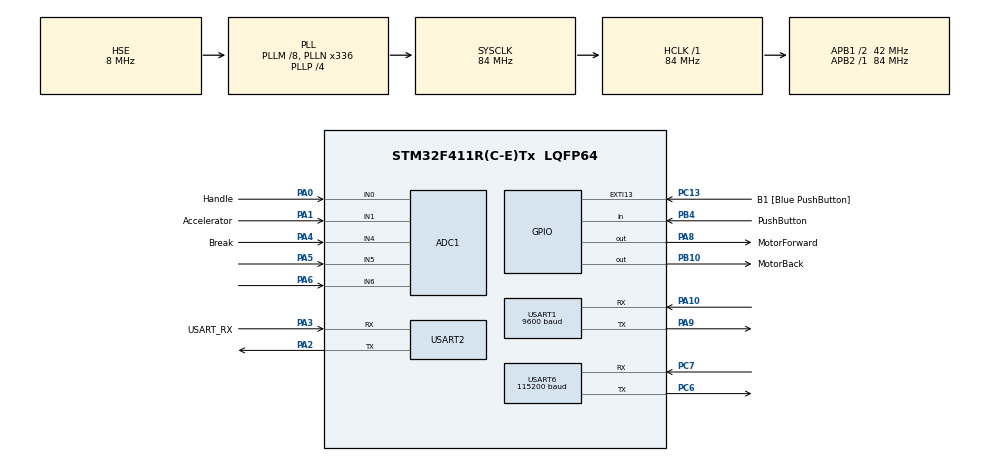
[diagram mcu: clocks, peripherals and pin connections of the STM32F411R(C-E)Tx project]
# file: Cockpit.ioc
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ADC1.Channel-0\#ChannelRegularConversion=ADC_CHANNEL_0
ADC1.Channel-1\#ChannelRegularConversion=ADC_CHANNEL_1
ADC1.Channel-2\#ChannelRegularConversion=ADC_CHANNEL_4
ADC1.Channel-3\#ChannelRegularConversion=ADC_CHANNEL_5
ADC1.Channel-4\#ChannelRegularConversion=ADC_CHANNEL_6
ADC1.ClockPrescaler=ADC_CLOCK_SYNC_PCLK_DIV6
ADC1.ContinuousConvMode=ENABLE
ADC1.DMAContinuousRequests=ENABLE
ADC1.DiscontinuousConvMode=DISABLE
ADC1.EOCSelection=ADC_EOC_SINGLE_CONV
ADC1.InjNumberOfConversion=0
ADC1.NbrOfConversion=5
ADC1.NbrOfConversionFlag=1
ADC1.Rank-0\#ChannelRegularConversion=1
ADC1.Rank-1\#ChannelRegularConversion=2
ADC1.Rank-2\#ChannelRegularConversion=3
ADC1.Rank-3\#ChannelRegularConversion=4
ADC1.Rank-4\#ChannelRegularConversion=5
ADC1.SamplingTime-0\#ChannelRegularConversion=ADC_SAMPLETIME_84CYCLES
ADC1.SamplingTime-1\#ChannelRegularConversion=ADC_SAMPLETIME_84CYCLES
ADC1.SamplingTime-2\#ChannelRegularConversion=ADC_SAMPLETIME_84CYCLES
ADC1.SamplingTime-3\#ChannelRegularConversion=ADC_SAMPLETIME_84CYCLES
ADC1.SamplingTime-4\#ChannelRegularConversion=ADC_SAMPLETIME_84CYCLES
ADC1.ScanConvMode=ENABLE
ADC1.master=1
Dma.ADC1.0.Direction=DMA_PERIPH_TO_MEMORY
Dma.ADC1.0.FIFOMode=DMA_FIFOMODE_DISABLE
Dma.ADC1.0.Instance=DMA2_Stream0
Dma.ADC1.0.MemDataAlignment=DMA_MDATAALIGN_HALFWORD
Dma.ADC1.0.MemInc=DMA_MINC_ENABLE
Dma.ADC1.0.Mode=DMA_CIRCULAR
Dma.ADC1.0.PeriphDataAlignment=DMA_PDATAALIGN_HALFWORD
Dma.ADC1.0.PeriphInc=DMA_PINC_DISABLE
Dma.ADC1.0.Priority=DMA_PRIORITY_LOW
Dma.Request0=ADC1
FREERTOS.Tasks01=defaultTask,0,128,StartDefaultTask,Default,NULL,Dynamic,NULL,NULL;myTask02,-3,128,adcTack,Default,NULL,Dynamic,NULL,NULL;myTask03,-3,128,UartTask,Default,NULL,Dynamic,NULL,NULL
FREERTOS.configUSE_IDLE_HOOK=1
Mcu.Family=STM32F4
Mcu.Name=STM32F411R(C-E)Tx
Mcu.Package=LQFP64
NVIC.ADC_IRQn=true\:5\:0\:false\:false\:true\:true\:true\:true\:true
NVIC.DMA2_Stream0_IRQn=true\:5\:0\:false\:false\:true\:true\:false\:true\:true
NVIC.PriorityGroup=NVIC_PRIORITYGROUP_4
NVIC.TIM2_IRQn=true\:5\:0\:false\:false\:true\:true\:true\:true\:true
NVIC.TIM3_IRQn=true\:5\:0\:false\:false\:true\:true\:true\:true\:true
NVIC.USART1_IRQn=true\:5\:0\:false\:false\:true\:true\:true\:true\:true
NVIC.USART2_IRQn=true\:5\:0\:false\:false\:true\:true\:true\:true\:true
NVIC.USART6_IRQn=true\:5\:0\:false\:false\:true\:true\:true\:true\:true
PA0-WKUP.GPIO_Label=Handle
PA0-WKUP.Signal=ADCx_IN0
PA1.GPIO_Label=Accelerator
PA1.Signal=ADCx_IN1
PA10.Mode=Asynchronous
PA10.Signal=USART1_RX
PA13.GPIO_Label=TMS
PA13.Mode=Serial_Wire
PA13.Signal=SYS_JTMS-SWDIO
PA14.GPIO_Label=TCK
PA14.Mode=Serial_Wire
PA14.Signal=SYS_JTCK-SWCLK
PA2.Mode=Asynchronous
PA2.Signal=USART2_TX
PA3.GPIO_Label=USART_RX
PA3.Mode=Asynchronous
PA3.Signal=USART2_RX
PA4.GPIO_Label=Break
PA4.Signal=ADCx_IN4
PA5.Signal=ADCx_IN5
PA6.Signal=ADCx_IN6
PA8.GPIO_Label=MotorForward
PA8.GPIO_PuPd=GPIO_NOPULL
PA8.Signal=GPIO_Output
PA9.Mode=Asynchronous
PA9.Signal=USART1_TX
PB10.GPIO_Label=MotorBack
PB10.GPIO_PuPd=GPIO_NOPULL
PB10.Signal=GPIO_Output
PB3.GPIO_Label=SWO
PB3.Signal=SYS_JTDO-SWO
PB4.GPIO_Label=PushButton
PB4.Signal=GPIO_Input
PC13-ANTI_TAMP.GPIO_Label=B1 [Blue PushButton]
PC13-ANTI_TAMP.GPIO_ModeDefaultEXTI=GPIO_MODE_IT_FALLING
PC13-ANTI_TAMP.Signal=GPXTI13
PC14-OSC32_IN.Mode=LSE-External-Oscillator
PC14-OSC32_IN.Signal=RCC_OSC32_IN
PC15-OSC32_OUT.Mode=LSE-External-Oscillator
PC15-OSC32_OUT.Signal=RCC_OSC32_OUT
PC6.Mode=Asynchronous
PC6.Signal=USART6_TX
PC7.Mode=Asynchronous
PC7.Signal=USART6_RX
PH0\ -\ OSC_IN.Mode=HSE-External-Oscillator
PH0\ -\ OSC_IN.Signal=RCC_OSC_IN
PH1\ -\ OSC_OUT.Mode=HSE-External-Oscillator
PH1\ -\ OSC_OUT.Signal=RCC_OSC_OUT
ProjectManager.HeapSize=0x200
ProjectManager.StackSize=0x400
ProjectManager.TargetToolchain=STM32CubeIDE
RCC.48MHZClocksFreq_Value=84000000
RCC.AHBFreq_Value=84000000
RCC.APB1CLKDivider=RCC_HCLK_DIV2
RCC.APB1Freq_Value=42000000
RCC.APB1TimFreq_Value=84000000
RCC.APB2Freq_Value=84000000
RCC.APB2TimFreq_Value=84000000
RCC.CortexFreq_Value=84000000
RCC.FLatency-AdvancedSettings=FLASH_LATENCY_2
RCC.HCLKFreq_Value=84000000
RCC.HSE_VALUE=8000000
RCC.HSI_VALUE=16000000
RCC.PLLM=8
RCC.PLLN=336
RCC.PLLP=RCC_PLLP_DIV4
RCC.PLLSourceVirtual=RCC_PLLSOURCE_HSE
RCC.SYSCLKFreq_VALUE=84000000
RCC.SYSCLKSource=RCC_SYSCLKSOURCE_PLLCLK
RCC.VCOOutputFreq_Value=336000000
SH.ADCx_IN0.0=ADC1_IN0,IN0
SH.ADCx_IN1.0=ADC1_IN1,IN1
SH.ADCx_IN4.0=ADC1_IN4,IN4
SH.ADCx_IN5.0=ADC1_IN5,IN5
SH.ADCx_IN6.0=ADC1_IN6,IN6
TIM2.Period=1000-1
TIM2.Prescaler=84-1
TIM3.Period=1000-1
TIM3.Prescaler=84-1
USART1.BaudRate=9600
USART1.VirtualMode=VM_ASYNC
USART2.VirtualMode=VM_ASYNC
USART6.BaudRate=115200
USART6.VirtualMode=VM_ASYNC
VP_FREERTOS_VS_CMSIS_V1.Mode=CMSIS_V1
VP_TIM2_VS_ClockSourceINT.Mode=Internal
VP_TIM3_VS_ClockSourceINT.Mode=Internal
board=NUCLEO-F411RE

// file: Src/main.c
/* USER CODE BEGIN Header */
/**
 ******************************************************************************
 * @file           : main.c
 * @brief          : Main program body
 ******************************************************************************
 * @attention
 *
 * Copyright (c) 2025 STMicroelectronics.
 * All rights reserved.
 *
 * This software is licensed under terms that can be found in the LICENSE file
 * in the root directory of this software component.
 * If no LICENSE file comes with this software, it is provided AS-IS.
 *
 ******************************************************************************
 */
/* USER CODE END Header */
#include "main.h"
#include "cmsis_os.h"

/* USER CODE BEGIN Includes */
#include <stdio.h>
#include <string.h>
/* USER CODE END Includes */

/* USER CODE BEGIN PD */
#ifdef __GNUC__
/* With GCC, small printf (option LD Linker->Libraries->Small printf
   set to 'Yes') calls __io_putchar() */
#define PUTCHAR_PROTOTYPE int __io_putchar(int ch)
#else
#define PUTCHAR_PROTOTYPE int fputc(int ch, FILE *f)
#endif /* __GNUC__ */
#define ARR_CNT 5
#define CMD_SIZE 50
/* USER CODE END PD */

ADC_HandleTypeDef hadc1;
DMA_HandleTypeDef hdma_adc1;

TIM_HandleTypeDef htim2;
TIM_HandleTypeDef htim3;

UART_HandleTypeDef huart1;
UART_HandleTypeDef huart2;
UART_HandleTypeDef huart6;

osThreadId defaultTaskHandle;
osThreadId myTask02Handle;
osThreadId myTask03Handle;
/* USER CODE BEGIN PV */
__IO uint32_t adc_value;
__IO uint8_t tim3Flag1Sec;
__IO uint8_t tim3Flag1Sec2;
__IO unsigned int tim3Sec;
__IO int adcFlag = 0;
__IO uint8_t dangerFlag[2] = {0};
__IO uint16_t handle;
__IO uint16_t accel;
__IO uint16_t brake;
__IO uint16_t press;
__IO uint8_t motorDirection = 1;
__IO uint8_t sudden_accel = 0;
__IO uint8_t tim2_flag = 0;
__IO unsigned char btFlag = 0;
uint8_t btchar;
char btData[50];
char sendBuf[50] = {0};
char sendBuffer[50] = {0};
/* USER CODE END PV */

void SystemClock_Config(void);
static void MX_GPIO_Init(void);
static void MX_DMA_Init(void);
static void MX_TIM3_Init(void);
static void MX_ADC1_Init(void);
static void MX_USART1_UART_Init(void);
static void MX_USART2_UART_Init(void);
static void MX_USART6_UART_Init(void);
static void MX_TIM2_Init(void);
void StartDefaultTask(void const * argument);
void adcTack(void const * argument);
void UartTask(void const * argument);

/* USER CODE BEGIN 0 */
ADC_HandleTypeDef hadc1;
UART_HandleTypeDef huart2;
UART_HandleTypeDef huart6;
__IO uint16_t ADCxConvertValue[5] = {0};
/* USER CODE END 0 */

int main(void)
{

  /* USER CODE BEGIN 1 */
//  int ret = 0;
//  char sendBuf[MAX_UART_COMMAND_LEN] = {0};
//  uint8_t rxBuffer[100]; // 수신 데이터를 저장할 버퍼
  /* USER CODE END 1 */

  /* MCU Configuration--------------------------------------------------------*/

  /* Reset of all peripherals, Initializes the Flash interface and the Systick. */
  HAL_Init();

  /* Configure the system clock */
  SystemClock_Config();

  /* Initialize all configured peripherals */
  MX_GPIO_Init();
  MX_DMA_Init();
  MX_TIM3_Init();
  MX_ADC1_Init();
  MX_USART1_UART_Init();
  MX_USART2_UART_Init();
  MX_USART6_UART_Init();
  MX_TIM2_Init();
  /* USER CODE BEGIN 2 */
  if (HAL_TIM_Base_Start_IT(&htim3) != HAL_OK)
  {
    Error_Handler();
  }
  HAL_ADC_Start(&hadc1);
  if (HAL_ADC_Start_DMA(&hadc1, (uint32_t *)ADCxConvertValue, 5) != HAL_OK)
  {
    Error_Handler();
  }
  HAL_UART_Receive_IT(&huart6, &btchar,1);
  /* USER CODE END 2 */

  /* Create the thread(s) */
  /* definition and creation of defaultTask */
  osThreadDef(defaultTask, StartDefaultTask, osPriorityNormal, 0, 128);
  defaultTaskHandle = osThreadCreate(osThread(defaultTask), NULL);

  /* definition and creation of myTask02 */
  osThreadDef(myTask02, adcTack, osPriorityNormal, 0, 128);
  myTask02Handle = osThreadCreate(osThread(myTask02), NULL);

  /* definition and creation of myTask03 */
  osThreadDef(myTask03, UartTask, osPriorityNormal, 0, 128);
  myTask03Handle = osThreadCreate(osThread(myTask03), NULL);

  /* Start scheduler */
  osKernelStart();

  /* We should never get here as control is now taken by the scheduler */

  /* Infinite loop */
  /* USER CODE BEGIN WHILE */
  while (1)
  {
    // if (tim3Flag1Sec)
    // {
    //   tim3Flag1Sec = 0;
    //   if (adcFlag)
    //   {
    //     if (HAL_ADC_Start_DMA(&hadc1, (uint32_t *)ADCxConvertValue, 5) != HAL_OK)
    //     {
    //       Error_Handler();
    //     }
    //   }
    //   handle = map_handle_to_range(ADCxConvertValue[0]);
    //   accel = map_accel_to_range(ADCxConvertValue[1]);
    //   brake = map_brake_to_range(ADCxConvertValue[2]);
    //   press = ADCxConvertValue[3];
    //   pushButton();
    //   sendMotorStatus();
    //   checkDanger();
    //   sprintf(sendBuf, "%d,%d,%d,%d,%d,%d,\r\n", handle, accel, brake, press, motorDirection,sudden_accel);
    //   //printf("Handle = %u Accel : %u break : %u Press : %lu\r\n", ADCxConvertValue[0], ADCxConvertValue[1], ADCxConvertValue[2], ADCxConvertValue[3]);
    //   if (HAL_UART_Transmit_IT(&huart1, (uint8_t *)sendBuf, strlen(sendBuf)) == HAL_OK)
    //   {
    //     // printf("%u,%u,%u,%u\r\n", ADCxConvertValue[0], ADCxConvertValue[1], ADCxConvertValue[2], ADCxConvertValue[3]);
    //     printf(sendBuf);
    //   }
    // }
    /* USER CODE END WHILE */

  }
}

void SystemClock_Config(void)
{
  RCC_OscInitTypeDef RCC_OscInitStruct = {0};
  RCC_ClkInitTypeDef RCC_ClkInitStruct = {0};

  /** Configure the main internal regulator output voltage
  */
  __HAL_RCC_PWR_CLK_ENABLE();
  __HAL_PWR_VOLTAGESCALING_CONFIG(PWR_REGULATOR_VOLTAGE_SCALE1);

  /** Initializes the RCC Oscillators according to the specified parameters
  * in the RCC_OscInitTypeDef structure.
  */
  RCC_OscInitStruct.OscillatorType = RCC_OSCILLATORTYPE_HSE;
  RCC_OscInitStruct.HSEState = RCC_HSE_ON;
  RCC_OscInitStruct.PLL.PLLState = RCC_PLL_ON;
  RCC_OscInitStruct.PLL.PLLSource = RCC_PLLSOURCE_HSE;
  RCC_OscInitStruct.PLL.PLLM = 8;
  RCC_OscInitStruct.PLL.PLLN = 336;
  RCC_OscInitStruct.PLL.PLLP = RCC_PLLP_DIV4;
  RCC_OscInitStruct.PLL.PLLQ = 4;
  if (HAL_RCC_OscConfig(&RCC_OscInitStruct) != HAL_OK)
  {
    Error_Handler();
  }

  /** Initializes the CPU, AHB and APB buses clocks
  */
  RCC_ClkInitStruct.ClockType = RCC_CLOCKTYPE_HCLK|RCC_CLOCKTYPE_SYSCLK
                              |RCC_CLOCKTYPE_PCLK1|RCC_CLOCKTYPE_PCLK2;
  RCC_ClkInitStruct.SYSCLKSource = RCC_SYSCLKSOURCE_PLLCLK;
  RCC_ClkInitStruct.AHBCLKDivider = RCC_SYSCLK_DIV1;
  RCC_ClkInitStruct.APB1CLKDivider = RCC_HCLK_DIV2;
  RCC_ClkInitStruct.APB2CLKDivider = RCC_HCLK_DIV1;

  if (HAL_RCC_ClockConfig(&RCC_ClkInitStruct, FLASH_LATENCY_2) != HAL_OK)
  {
    Error_Handler();
  }
}

static void MX_ADC1_Init(void)
{

  ADC_ChannelConfTypeDef sConfig = {0};

  /** Configure the global features of the ADC (Clock, Resolution, Data Alignment and number of conversion)
  */
  hadc1.Instance = ADC1;
  hadc1.Init.ClockPrescaler = ADC_CLOCK_SYNC_PCLK_DIV6;
  hadc1.Init.Resolution = ADC_RESOLUTION_12B;
  hadc1.Init.ScanConvMode = ENABLE;
  hadc1.Init.ContinuousConvMode = ENABLE;
  hadc1.Init.DiscontinuousConvMode = DISABLE;
  hadc1.Init.ExternalTrigConvEdge = ADC_EXTERNALTRIGCONVEDGE_NONE;
  hadc1.Init.ExternalTrigConv = ADC_SOFTWARE_START;
  hadc1.Init.DataAlign = ADC_DATAALIGN_RIGHT;
  hadc1.Init.NbrOfConversion = 5;
  hadc1.Init.DMAContinuousRequests = ENABLE;
  hadc1.Init.EOCSelection = ADC_EOC_SINGLE_CONV;
  if (HAL_ADC_Init(&hadc1) != HAL_OK)
  {
    Error_Handler();
  }

  /** Configure for the selected ADC regular channel its corresponding rank in the sequencer and its sample time.
  */
  sConfig.Channel = ADC_CHANNEL_0;
  sConfig.Rank = 1;
  sConfig.SamplingTime = ADC_SAMPLETIME_84CYCLES;
  if (HAL_ADC_ConfigChannel(&hadc1, &sConfig) != HAL_OK)
  {
    Error_Handler();
  }

  /** Configure for the selected ADC regular channel its corresponding rank in the sequencer and its sample time.
  */
  sConfig.Channel = ADC_CHANNEL_1;
  sConfig.Rank = 2;
  if (HAL_ADC_ConfigChannel(&hadc1, &sConfig) != HAL_OK)
  {
    Error_Handler();
  }

  /** Configure for the selected ADC regular channel its corresponding rank in the sequencer and its sample time.
  */
  sConfig.Channel = ADC_CHANNEL_4;
  sConfig.Rank = 3;
  if (HAL_ADC_ConfigChannel(&hadc1, &sConfig) != HAL_OK)
  {
    Error_Handler();
  }

  /** Configure for the selected ADC regular channel its corresponding rank in the sequencer and its sample time.
  */
  sConfig.Channel = ADC_CHANNEL_5;
  sConfig.Rank = 4;
  if (HAL_ADC_ConfigChannel(&hadc1, &sConfig) != HAL_OK)
  {
    Error_Handler();
  }

  /** Configure for the selected ADC regular channel its corresponding rank in the sequencer and its sample time.
  */
  sConfig.Channel = ADC_CHANNEL_6;
  sConfig.Rank = 5;
  if (HAL_ADC_ConfigChannel(&hadc1, &sConfig) != HAL_OK)
  {
    Error_Handler();
  }

}

static void MX_TIM2_Init(void)
{

  TIM_ClockConfigTypeDef sClockSourceConfig = {0};
  TIM_MasterConfigTypeDef sMasterConfig = {0};

  htim2.Instance = TIM2;
  htim2.Init.Prescaler = 84-1;
  htim2.Init.CounterMode = TIM_COUNTERMODE_UP;
  htim2.Init.Period = 1000-1;
  htim2.Init.ClockDivision = TIM_CLOCKDIVISION_DIV1;
  htim2.Init.AutoReloadPreload = TIM_AUTORELOAD_PRELOAD_DISABLE;
  if (HAL_TIM_Base_Init(&htim2) != HAL_OK)
  {
    Error_Handler();
  }
  sClockSourceConfig.ClockSource = TIM_CLOCKSOURCE_INTERNAL;
  if (HAL_TIM_ConfigClockSource(&htim2, &sClockSourceConfig) != HAL_OK)
  {
    Error_Handler();
  }
  sMasterConfig.MasterOutputTrigger = TIM_TRGO_RESET;
  sMasterConfig.MasterSlaveMode = TIM_MASTERSLAVEMODE_DISABLE;
  if (HAL_TIMEx_MasterConfigSynchronization(&htim2, &sMasterConfig) != HAL_OK)
  {
    Error_Handler();
  }

}

static void MX_TIM3_Init(void)
{

  TIM_ClockConfigTypeDef sClockSourceConfig = {0};
  TIM_MasterConfigTypeDef sMasterConfig = {0};

  htim3.Instance = TIM3;
  htim3.Init.Prescaler = 84-1;
  htim3.Init.CounterMode = TIM_COUNTERMODE_UP;
  htim3.Init.Period = 1000-1;
  htim3.Init.ClockDivision = TIM_CLOCKDIVISION_DIV1;
  htim3.Init.AutoReloadPreload = TIM_AUTORELOAD_PRELOAD_DISABLE;
  if (HAL_TIM_Base_Init(&htim3) != HAL_OK)
  {
    Error_Handler();
  }
  sClockSourceConfig.ClockSource = TIM_CLOCKSOURCE_INTERNAL;
  if (HAL_TIM_ConfigClockSource(&htim3, &sClockSourceConfig) != HAL_OK)
  {
    Error_Handler();
  }
  sMasterConfig.MasterOutputTrigger = TIM_TRGO_RESET;
  sMasterConfig.MasterSlaveMode = TIM_MASTERSLAVEMODE_DISABLE;
  if (HAL_TIMEx_MasterConfigSynchronization(&htim3, &sMasterConfig) != HAL_OK)
  {
    Error_Handler();
  }

}

static void MX_USART1_UART_Init(void)
{

  huart1.Instance = USART1;
  huart1.Init.BaudRate = 9600;
  huart1.Init.WordLength = UART_WORDLENGTH_8B;
  huart1.Init.StopBits = UART_STOPBITS_1;
  huart1.Init.Parity = UART_PARITY_NONE;
  huart1.Init.Mode = UART_MODE_TX_RX;
  huart1.Init.HwFlowCtl = UART_HWCONTROL_NONE;
  huart1.Init.OverSampling = UART_OVERSAMPLING_16;
  if (HAL_UART_Init(&huart1) != HAL_OK)
  {
    Error_Handler();
  }

}

static void MX_USART2_UART_Init(void)
{

  huart2.Instance = USART2;
  huart2.Init.BaudRate = 115200;
  huart2.Init.WordLength = UART_WORDLENGTH_8B;
  huart2.Init.StopBits = UART_STOPBITS_1;
  huart2.Init.Parity = UART_PARITY_NONE;
  huart2.Init.Mode = UART_MODE_TX_RX;
  huart2.Init.HwFlowCtl = UART_HWCONTROL_NONE;
  huart2.Init.OverSampling = UART_OVERSAMPLING_16;
  if (HAL_UART_Init(&huart2) != HAL_OK)
  {
    Error_Handler();
  }

}

static void MX_USART6_UART_Init(void)
{

  huart6.Instance = USART6;
  huart6.Init.BaudRate = 9600;
  huart6.Init.WordLength = UART_WORDLENGTH_8B;
  huart6.Init.StopBits = UART_STOPBITS_1;
  huart6.Init.Parity = UART_PARITY_NONE;
  huart6.Init.Mode = UART_MODE_TX_RX;
  huart6.Init.HwFlowCtl = UART_HWCONTROL_NONE;
  huart6.Init.OverSampling = UART_OVERSAMPLING_16;
  if (HAL_UART_Init(&huart6) != HAL_OK)
  {
    Error_Handler();
  }

}

static void MX_DMA_Init(void)
{

  /* DMA controller clock enable */
  __HAL_RCC_DMA2_CLK_ENABLE();

  /* DMA interrupt init */
  /* DMA2_Stream0_IRQn interrupt configuration */
  HAL_NVIC_SetPriority(DMA2_Stream0_IRQn, 5, 0);
  HAL_NVIC_EnableIRQ(DMA2_Stream0_IRQn);

}

static void MX_GPIO_Init(void)
{
  GPIO_InitTypeDef GPIO_InitStruct = {0};

  /* GPIO Ports Clock Enable */
  __HAL_RCC_GPIOC_CLK_ENABLE();
  __HAL_RCC_GPIOH_CLK_ENABLE();
  __HAL_RCC_GPIOA_CLK_ENABLE();
  __HAL_RCC_GPIOB_CLK_ENABLE();

  /*Configure GPIO pin Output Level */
  HAL_GPIO_WritePin(MotorBack_GPIO_Port, MotorBack_Pin, GPIO_PIN_RESET);

  /*Configure GPIO pin Output Level */
  HAL_GPIO_WritePin(MotorForward_GPIO_Port, MotorForward_Pin, GPIO_PIN_RESET);

  /*Configure GPIO pin : B1_Pin */
  GPIO_InitStruct.Pin = B1_Pin;
  GPIO_InitStruct.Mode = GPIO_MODE_IT_FALLING;
  GPIO_InitStruct.Pull = GPIO_NOPULL;
  HAL_GPIO_Init(B1_GPIO_Port, &GPIO_InitStruct);

  /*Configure GPIO pin : MotorBack_Pin */
  GPIO_InitStruct.Pin = MotorBack_Pin;
  GPIO_InitStruct.Mode = GPIO_MODE_OUTPUT_PP;
  GPIO_InitStruct.Pull = GPIO_NOPULL;
  GPIO_InitStruct.Speed = GPIO_SPEED_FREQ_LOW;
  HAL_GPIO_Init(MotorBack_GPIO_Port, &GPIO_InitStruct);

  /*Configure GPIO pin : MotorForward_Pin */
  GPIO_InitStruct.Pin = MotorForward_Pin;
  GPIO_InitStruct.Mode = GPIO_MODE_OUTPUT_PP;
  GPIO_InitStruct.Pull = GPIO_NOPULL;
  GPIO_InitStruct.Speed = GPIO_SPEED_FREQ_LOW;
  HAL_GPIO_Init(MotorForward_GPIO_Port, &GPIO_InitStruct);

  /*Configure GPIO pin : PushButton_Pin */
  GPIO_InitStruct.Pin = PushButton_Pin;
  GPIO_InitStruct.Mode = GPIO_MODE_INPUT;
  GPIO_InitStruct.Pull = GPIO_NOPULL;
  HAL_GPIO_Init(PushButton_GPIO_Port, &GPIO_InitStruct);

/* USER CODE BEGIN MX_GPIO_Init_2 */
  HAL_GPIO_WritePin(GPIOB, GPIO_PIN_0, GPIO_PIN_RESET);
  HAL_GPIO_WritePin(GPIOB, GPIO_PIN_1, GPIO_PIN_RESET);
/* USER CODE END MX_GPIO_Init_2 */
}

/* USER CODE BEGIN 4 */

//void HAL_UART_RxCpltCallback(UART_HandleTypeDef *huart)
//{
//  if (huart->Instance == USART6)
//  {
//    static int i = 0;
//    btData[i] = btchar;
//    if ((btData[i] == '\n') || btData[i] == '\r')
//    {
//      btData[i] = '\0';
//      btFlag = 1;
//      i = 0;
//    }
//    else
//    {
//      i++;
//    }
//    HAL_UART_Receive_IT(&huart6, &btchar, 1);
//  }
//}
void HAL_TIM_PeriodElapsedCallback(TIM_HandleTypeDef *htim)
{
  static int tim3Cnt = 0;
  if (htim->Instance == TIM3)
  {
    tim3Cnt++;
    if (tim3Cnt >= 100)
    {
      tim3Flag1Sec = 1;
      tim3Flag1Sec2 = 1;
      tim3Cnt = 0;
    }
  }
  if (htim->Instance == TIM2)
  {
    tim2_flag = 1;  // 완료 플래그 설정
  }
}

void HAL_ADC_ConvCpltCallback(ADC_HandleTypeDef *AdcHandle)
{
  adcFlag = 1;
}

int map_handle_to_range(int raw_handle)
{
  int raw_min = 0;
  int raw_max = 3900;
  int scale_min = 1;
  int scale_max = 1000;
  int result;

  if (raw_handle > 5000 || raw_handle > 65000) return 0; // 값이 튀면 0 처리

  result = scale_min + (raw_handle - raw_min) * (scale_max - scale_min) / (raw_max - raw_min);
  return result;
}

int map_accel_to_range(int raw_accel)
{
  int raw_min = 600;
  int raw_max = 3700;
  int scale_min = 1;
  int scale_max = 1000;
  int result;

  if (raw_accel > 5000 || raw_accel > 65000) return 0; // 값이 튀면 0 처리

  result = scale_min + (raw_accel - raw_min) * (scale_max - scale_min) / (raw_max - raw_min);
  return result;
}

int map_brake_to_range(int raw_brake)
{
  int raw_min = 600;
  int raw_max = 3900;
  int scale_min = 1;
  int scale_max = 1000;
  int result;

  if (raw_brake > 5000 || raw_brake > 65000) return 0; // 값이 튀면 0 처리

  result = scale_min + (raw_brake - raw_min) * (scale_max - scale_min) / (raw_max - raw_min);
  return result;
}

void checkDanger(void)
{
  static uint8_t checkFlag = 1;
  if (press > 200)
    dangerFlag[0] = 1;
  else
    dangerFlag[0] = 0;
  if (accel > 900)
    dangerFlag[1] = 1;
  else
    dangerFlag[1] = 0;

  if (dangerFlag[0] == 1 && dangerFlag[1] == 1 && checkFlag == 1)
  {
    sprintf(sendBuffer, "%d %d %d %d\n", handle, brake, accel, press);
    HAL_UART_Transmit_IT(&huart6, (uint8_t *)sendBuffer, strlen(sendBuffer));
    checkFlag = 0;
  }
  if (dangerFlag[0] == 0 || dangerFlag[1] == 0)
  {
    checkFlag = 1;
  }
}

void sendMotorStatus(void){
  uint8_t currState[2];
  currState[0] = HAL_GPIO_ReadPin(MotorForward_GPIO_Port, MotorForward_Pin);
  currState[1] = HAL_GPIO_ReadPin(MotorBack_GPIO_Port, MotorBack_Pin);

  if(GPIO_PIN_SET == currState[0]) motorDirection = 1;
  else if(GPIO_PIN_SET == currState[1]) motorDirection = 2;
}

void pushButton(void){
  static uint8_t prevState = 0;
  uint8_t curState = HAL_GPIO_ReadPin(PushButton_GPIO_Port, PushButton_Pin);

  if(curState == GPIO_PIN_SET && prevState == GPIO_PIN_RESET){
    sudden_accel = !sudden_accel;
  }
  prevState = curState;
}

PUTCHAR_PROTOTYPE
{
  /* Place your implementation of fputc here */
  /* e.g. write a character to the USART6 and Loop until the end of transmission */
  HAL_UART_Transmit(&huart2, (uint8_t *)&ch, 1, 0xFFFF);

  return ch;
}
/* USER CODE END 4 */

void StartDefaultTask(void const * argument)
{
  for(;;)
  {
    osDelay(1);
  }
}

void adcTack(void const *argument)
{
  /* USER CODE BEGIN adcTack */
  /* Infinite loop */
  while (1)
  {
    if (tim3Flag1Sec)
    {
      tim3Flag1Sec = 0;
      handle = map_handle_to_range(ADCxConvertValue[0]);
      accel = map_accel_to_range(ADCxConvertValue[1]);
      brake = map_brake_to_range(ADCxConvertValue[2]);
      press = ADCxConvertValue[3];
      pushButton();
      sendMotorStatus();
      sprintf(sendBuf, "%d,%d,%d,%d,%d,%d,\r\n", handle, accel, brake, press, motorDirection, sudden_accel);
    }
  }
  /* USER CODE END adcTack */
}

void UartTask(void const *argument)
{
  /* USER CODE BEGIN UartTask */
  /* Infinite loop */
  while (1)
  {
    if (tim3Flag1Sec2)
    {
      checkDanger();
      tim3Flag1Sec2 = 0;
      if (HAL_UART_Transmit_IT(&huart1, (uint8_t *)sendBuf, strlen(sendBuf)) == HAL_OK)
      {
        // printf("%u,%u,%u,%u\r\n", ADCxConvertValue[0], ADCxConvertValue[1], ADCxConvertValue[2], ADCxConvertValue[3]);
        printf(sendBuf);
      }
    }
  }
  /* USER CODE END UartTask */
}

void Error_Handler(void)
{
  __disable_irq();
  while (1)
  {
  }
}
